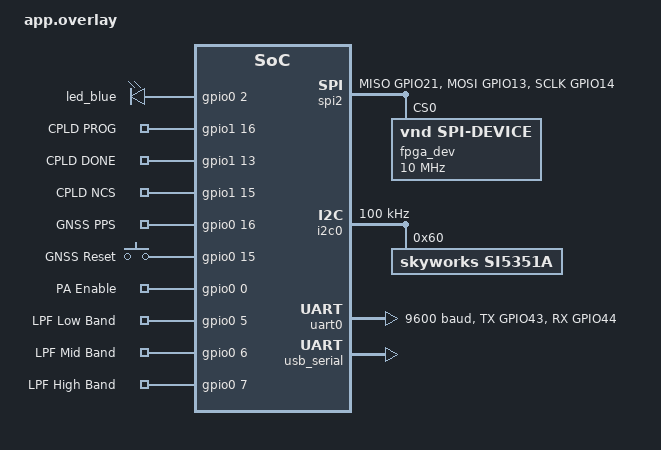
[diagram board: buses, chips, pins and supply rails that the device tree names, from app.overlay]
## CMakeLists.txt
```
# SPDX-License-Identifier: Apache-2.0
# WSPR-ease Zephyr Application

cmake_minimum_required(VERSION 3.20.0)

find_package(Zephyr REQUIRED HINTS $ENV{ZEPHYR_BASE})
project(wspr-ease)

# Include directories
target_include_directories(app PRIVATE
  ${CMAKE_CURRENT_SOURCE_DIR}/src

  # For regs.hpp
  ${CMAKE_CURRENT_SOURCE_DIR}/../FPGA/gen-hw
)

# Calculate paths dynamically to remain generalized
set(toolsDirPath "${CMAKE_CURRENT_SOURCE_DIR}/../tools")
set(flashScriptPath "${toolsDirPath}/remote-flash.sh")
set(binFilePath "${CMAKE_BINARY_DIR}/zephyr/zephyr.bin")

# Define the custom target that depends on the final zephyr binary
add_custom_target(remoteFlash
  COMMAND bash ${flashScriptPath} ${binFilePath}
  DEPENDS zephyr_final
)

# Source files
target_sources(app PRIVATE
  src/main.cpp
  src/wifiManager.cpp
  src/webserver.cpp
  src/captiveDNS.cpp
  src/gnss.cpp
  src/fpga.cpp
  src/shellcmds.cpp
  src/filesystem.cpp
  src/logmanager.cpp
)
```

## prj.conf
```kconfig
# WSPR-ease Zephyr Configuration
# Target: ESP32-S3

# Basic kernel settings
CONFIG_MAIN_STACK_SIZE=16384
CONFIG_HEAP_MEM_POOL_SIZE=131072

# C++ support
CONFIG_CPP=y
CONFIG_STD_CPP17=y
CONFIG_GLIBCXX_LIBCPP=y

# Logging
CONFIG_LOG=y
CONFIG_LOG_DEFAULT_LEVEL=3

# Console/Shell (USB serial)
CONFIG_CONSOLE=y
CONFIG_UART_CONSOLE=y
CONFIG_SHELL=y
CONFIG_REBOOT=y
CONFIG_SHELL_PROMPT_UART="WSPR-ease> "

# GPIO for status LEDs and FPGA control
CONFIG_GPIO=y

# SPI for FPGA communication
CONFIG_SPI=y
CONFIG_SPI_SHELL=y
CONFIG_SPI_SHELL_MAX_DEVICE_SLOTS=16

# I2C for Si5351 communication
CONFIG_I2C=y

# Wi-Fi
CONFIG_WIFI=y
CONFIG_WIFI_ESP32=y
CONFIG_NET_L2_WIFI_SHELL=y
CONFIG_NET_STATISTICS=y
CONFIG_NET_STATISTICS_PER_INTERFACE=y
CONFIG_NET_STATISTICS_USER_API=y
CONFIG_NET_STATISTICS_IPV4=y
CONFIG_NET_STATISTICS_IPV6=y
CONFIG_NET_STATISTICS_IPV6_ND=y
CONFIG_NET_STATISTICS_ICMP=y
CONFIG_NET_STATISTICS_UDP=y
CONFIG_NET_STATISTICS_TCP=y
CONFIG_NET_STATISTICS_MLD=y
CONFIG_NET_STATISTICS_IGMP=y
CONFIG_NET_STATISTICS_DNS=y
CONFIG_NET_STATISTICS_ETHERNET=y
CONFIG_NET_STATISTICS_WIFI=y

# Networking
CONFIG_NETWORKING=y
CONFIG_NET_IPV4=y
CONFIG_NET_TCP=y
CONFIG_NET_UDP=y
CONFIG_NET_SOCKETS=y
CONFIG_NET_CONNECTION_MANAGER=y

# Network shell for debugging
CONFIG_NET_SHELL=y

# DHCP client (for STA mode)
CONFIG_NET_DHCPV4=y

# DHCP server (for AP mode)
CONFIG_NET_DHCPV4_SERVER=y

# DNS client
CONFIG_DNS_RESOLVER=y

# Network buffers
CONFIG_NET_PKT_RX_COUNT=24
CONFIG_NET_PKT_TX_COUNT=24
CONFIG_NET_BUF_RX_COUNT=48
CONFIG_NET_BUF_TX_COUNT=48
CONFIG_NET_MAX_CONTEXTS=12
CONFIG_NET_MAX_CONN=16

# NVS for storing WiFi credentials
CONFIG_NVS=y
CONFIG_FLASH=y
CONFIG_FLASH_MAP=y

# LittleFS for web UI files
CONFIG_FILE_SYSTEM=y
CONFIG_FILE_SYSTEM_LITTLEFS=y

# Settings subsystem for persistent config
CONFIG_SETTINGS=y
CONFIG_SETTINGS_NVS=y

# Increase stack sizes for network threads
CONFIG_NET_TX_STACK_SIZE=2048
CONFIG_NET_RX_STACK_SIZE=2048

# Floating point support for GNSS coordinates
CONFIG_FPU=y
CONFIG_CBPRINTF_FP_SUPPORT=y

# Serial/UART
CONFIG_SERIAL=y
CONFIG_UART_INTERRUPT_DRIVEN=y

# WiFi AP mode support - static IP configured in code for AP mode only
# Don't use NET_CONFIG_SETTINGS as it interferes with DHCP client mode

# WSPR-ease WiFi Configuration
# Set these to connect to your WiFi network as a client
# Leave WSPR_WIFI_SSID empty to start in AP mode
CONFIG_WSPR_WIFI_SSID="Starview"
CONFIG_WSPR_WIFI_PASSWORD="8784.brd3.14"

# AP mode settings (used when client mode fails or is not configured)
CONFIG_WSPR_AP_SSID="WSPR-ease"
CONFIG_WSPR_AP_PASSWORD="wspradmin"
```

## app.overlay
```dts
/* file: app.overlay */

/*
 * Add LittleFS partition for web UI files
 *
 * The ESP32-S3 board DTS defines default partitions:
 *   boot_partition @0x0 (64KB)
 *   slot0_partition @0x10000 (1472KB) - main app
 *   slot1_partition @0x180000 (1472KB) - OTA slot
 *   scratch_partition @0x2F0000 (64KB)
 *   storage_partition @0x300000 (64KB) - NVS
 *
 * We add LittleFS starting at 0x310000 (after storage).
 * This fits comfortably in the 8MB flash.
 */

&flash0 {
	partitions {
		compatible = "fixed-partitions";
		#address-cells = <1>;
		#size-cells = <1>;

		/* Delete all default partitions from the board dts to avoid confusion/overlap */
		/delete-node/ partition@0;
		/delete-node/ partition@10000;
		/delete-node/ partition@20000;
		/delete-node/ partition@170000;
		/delete-node/ partition@2c0000;
		/delete-node/ partition@2d0000;
		/delete-node/ partition@3b0000;
		/delete-node/ partition@3e0000;
		/delete-node/ partition@3f0000;

		/* Bootloader (64KB) */
		boot_partition: partition@0 {
			label = "mcuboot";
			reg = <0x00000000 DT_SIZE_K(64)>;
		};

		/* Application slot 0 (3MB) */
		slot0_partition: partition@10000 {
			label = "image-0";
			reg = <0x00010000 DT_SIZE_M(3)>;
		};

		/* LittleFS for web UI files (1MB) */
		lfs_partition: partition@310000 {
			label = "littlefs";
			reg = <0x00310000 DT_SIZE_M(1)>;
		};

		/* Storage/NVS (256KB) */
		storage_partition: partition@410000 {
			label = "storage";
			reg = <0x00410000 DT_SIZE_K(256)>;
		};
	};
};

/ {
	aliases {
		/* Aliases for C code access (must be lowercase with hyphens) */
		fpga-spi = &spi2;
		gnss-uart = &uart0;
		led0 = &led_blue;
	};

	chosen {
		zephyr,console = &usb_serial;
		zephyr,shell-uart = &usb_serial;
	};

	/* Virtual "LED" for board heartbeat if needed */
	leds {
		compatible = "gpio-leds";
		led_blue: led_0 {
			gpios = <&gpio0 2 GPIO_ACTIVE_HIGH>; /* Onboard LED if available, optional */
		};
	};

	/* * Custom Node: Transceiver IO
	 * Groups all discrete control signals.
	 */
	transceiver_io: transceiver-io {
		compatible = "gpio-keys"; 
		
		/* CPLD Control */
		cpld_prog: cpld-prog {
			gpios = <&gpio1 16 GPIO_ACTIVE_HIGH>; /* GPIO 48 */
			label = "CPLD PROG";
		};
		cpld_done: cpld-done {
			gpios = <&gpio1 13 GPIO_ACTIVE_HIGH>; /* GPIO 45 */
			label = "CPLD DONE";
		};
		cpld_ncs: cpld-ncs {
			gpios = <&gpio1 15 GPIO_ACTIVE_HIGH>; /* GPIO 47 */
			label = "CPLD NCS";
		};

		/* GNSS Timing and Control */
		pps_in: pps-in {
			gpios = <&gpio0 16 GPIO_ACTIVE_HIGH>; /* GPIO 16 */
			label = "GNSS PPS";
		};
		gnss_reset: gnss-reset {
			gpios = <&gpio0 15 GPIO_ACTIVE_HIGH>; /* GPIO 15 */
			label = "GNSS Reset";
		};

		/* Power / PA Enable */
		pa_en: pa-en {
			gpios = <&gpio0 0 GPIO_ACTIVE_HIGH>; /* GPIO 0 */
			label = "PA Enable";
		};

		/* Low Pass Filter Switching */
		lpf_lo: lpf-lo {
			gpios = <&gpio0 5 GPIO_ACTIVE_HIGH>; /* GPIO 5 */
			label = "LPF Low Band";
		};
		lpf_mid: lpf-mid {
			gpios = <&gpio0 6 GPIO_ACTIVE_HIGH>; /* GPIO 6 */
			label = "LPF Mid Band";
		};
		lpf_hi: lpf-hi {
			gpios = <&gpio0 7 GPIO_ACTIVE_HIGH>; /* GPIO 7 */
			label = "LPF High Band";
		};
	};
};

/* Pin Control Definitions */

&pinctrl {
	/* SPI2 (FSPI) for CPLD Control */
	spi2_default: spi2_default {
		group1 {
			pinmux = <SPIM2_MISO_GPIO21>,
			         <SPIM2_MOSI_GPIO13>,
			         <SPIM2_SCLK_GPIO14>;
		};
	};

	/* I2C0 for SI5351 control */
	i2c0_default: i2c0_default {
		group1 {
			pinmux = <I2C0_SCL_GPIO11>,
			         <I2C0_SDA_GPIO10>;
			bias-pull-up;
			drive-open-drain;
			output-high;
		};
	};

	/* UART0 for GNSS (Physically RXD0/TXD0) */
	uart0_default: uart0_default {
		group1 {
			pinmux = <UART0_TX_GPIO43>,
			         <UART0_RX_GPIO44>;
			bias-pull-up;
		};
	};
};

/* Peripheral Configuration */

&spi2 {
	status = "okay";
	pinctrl-0 = <&spi2_default>;
	pinctrl-names = "default";

	fpga_dev: fpga@0 {
		compatible = "vnd,spi-device";
		reg = <0>;
		spi-max-frequency = <10000000>; /* 10MHz for CPLD SPI */
	};
};

&i2c0 {
	status = "okay";
	clock-frequency = <I2C_BITRATE_STANDARD>;
	pinctrl-0 = <&i2c0_default>;
	pinctrl-names = "default";

	si5351a: si5351a@60 {
		compatible = "skyworks,si5351a";
		reg = <0x60>;
		status = "okay";
	};
};

&uart0 {
	status = "okay";
	current-speed = <9600>;
	pinctrl-0 = <&uart0_default>;
	pinctrl-names = "default";
};

&uart1 {
	status = "disabled";
};

&usb_serial {
	status = "okay";
};
```

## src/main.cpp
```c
/*
 * WSPR-ease Main Application
 *
 * Multi-band WSPR beacon controller for ESP32-S3 + iCE40 FPGA
 */

#include <zephyr/kernel.h>
#include <zephyr/logging/log.h>
#include <zephyr/net/net_if.h>
#include <zephyr/net/net_mgmt.h>

#include "wifiManager.hpp"
#include "webserver.hpp"
#include "captiveDNS.hpp"
#include "gnss.hpp"
#include "fpga.hpp"
#include "filesystem.hpp"
#include "logmanager.hpp"

LOG_MODULE_REGISTER(wspr_ease, LOG_LEVEL_INF);

namespace wspr {
// Register subsystem with LogManager
static Logger& logger = LogManager::instance().registerSubsystem("sys", 
    {"init", "wifi", "status", "tx"});
}

// WiFi retry configuration
#define WIFI_RETRY_DELAY_SECONDS  10
#define WIFI_MAX_RETRIES          0   // 0 = infinite retries

// Print a banner with connection info
static void printConnectionBanner(const char* ip)
{
    printk("\n");
    printk("==============================================\n");
    printk("  WSPR-ease Ready\n");
    printk("  Mode: WiFi Client\n");
    printk("  SSID: %s\n", CONFIG_WSPR_WIFI_SSID);
    printk("  Web UI: http://%s\n", ip);
    printk("==============================================\n");
    printk("\n");
}

// Try to connect to WiFi with retries
// Returns true if connected, false if no SSID configured
static bool wifiConnectWithRetry()
{
    auto& wifi = wspr::WifiManager::instance();
    using wspr::logger;

    const char* ssid = CONFIG_WSPR_WIFI_SSID;
    const char* pass = CONFIG_WSPR_WIFI_PASSWORD;

    if (ssid[0] == '\0') {
        logger.err("wifi", "No WiFi SSID configured! Set CONFIG_WSPR_WIFI_SSID in prj.conf");
        return false;
    }

    int retryCount = 0;

    while (WIFI_MAX_RETRIES == 0 || retryCount < WIFI_MAX_RETRIES) {
        if (retryCount > 0) {
            logger.inf("wifi", "WiFi retry %d, waiting %d seconds...",
                    retryCount, WIFI_RETRY_DELAY_SECONDS);
            k_sleep(K_SECONDS(WIFI_RETRY_DELAY_SECONDS));
        }

        logger.inf("wifi", "Connecting to WiFi: %s", ssid);

        if (wifi.connect(ssid, pass) == 0) {
            logger.inf("wifi", "WiFi connected, IP: %s", wifi.getIPAddress());
            return true;
        }

        logger.wrn("wifi", "WiFi connection failed");
        retryCount++;
    }

    return false;
}

static void initSubsystems(wspr::WebServer& webServer)
{
    auto& wifi = wspr::WifiManager::instance();
    auto& gnss = wspr::GNSS::instance();
    auto& fpga = wspr::FPGA::instance();
    auto& fs = wspr::FileSystem::instance();
    using wspr::logger;

    // Mount LittleFS early - doesn't need network
    fs.mount();

    // Initialize GNSS (stub mode)
    if (gnss.init() != 0) {
        logger.err("init", "GNSS init failed");
    }

    // Initialize FPGA (stub mode)
    if (fpga.init() != 0) {
        logger.err("init", "FPGA init failed");
    }

    // Initialize WiFi
    if (wifi.init() != 0) {
        logger.err("init", "WiFi init failed");
        return;
    }

    // Connect to WiFi (with retries)
    wifiConnectWithRetry();

    // Initialize and start web server
    if (webServer.init() == 0) {
        webServer.start(80);
        // Print connection banner after everything is ready
        if (wifi.isConnected()) {
            printConnectionBanner(wifi.getIPAddress());
        }
    } else {
        logger.err("init", "Web server init failed");
    }
}

int main(void)
{
    using wspr::logger;
    logger.inf("init", "WSPR-ease starting...");
    logger.inf("init", "Build: %s %s", __DATE__, __TIME__);

    // Ensure logging is initialized early
    (void)wspr::LogManager::instance();

    // Create WebServer on main's stack (persists for lifetime of program)
    wspr::WebServer webServer;

    // Wait for network interface to be ready
    k_sleep(K_SECONDS(2));

    initSubsystems(webServer);

    logger.inf("init", "Entering main loop");

    auto& wifi = wspr::WifiManager::instance();
    auto& gnss = wspr::GNSS::instance();
    auto& fpga = wspr::FPGA::instance();

    uint32_t loopCount = 0;
    bool wasConnected = wifi.isConnected();

    while (1) {
        // Check for scheduled WSPR transmission
        // (In real implementation, this would check schedule and start TX)
        if (gnss.isTXSlot() && !fpga.isTransmitting()) {
            logger.inf("tx", "TX slot detected (not transmitting in stub mode)");
        }

        // Monitor WiFi connection and reconnect if needed
        bool isConnected = wifi.isConnected();
        if (wasConnected && !isConnected) {
            logger.wrn("wifi", "WiFi disconnected! Attempting to reconnect...");
            if (wifiConnectWithRetry()) {
                printConnectionBanner(wifi.getIPAddress());
            }
        }
        wasConnected = wifi.isConnected();



        // Periodic status log
        if ((loopCount % 60) == 0) {  // Every 60 seconds
            logger.inf("status", "Status: WiFi=%s IP=%s RSSI=%d GNSS=%s Freq=%u",
                    wifi.isConnected() ? "connected" : "disconnected",
                    wifi.getIPAddress(),
                    wifi.getRSSI(),
                    gnss.hasFix() ? "fix" : "no fix",
                    fpga.frequency());
        }

        loopCount++;
        k_sleep(K_SECONDS(1));
    }

    return 0;
}
```

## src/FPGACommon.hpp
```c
#pragma once
#include <cstdint>

namespace wspr {

  // NCO system clock rate (90 MHz)
  constexpr uint64_t ncoHz = 90ULL * 1000ULL * 1000ULL;

  // WSPR tone spacing in Hz
  constexpr double wsprToneSpacingHz = 1.46484375;

  // Threshold frequency (10 MHz) to switch between 1-2-1 and Square Wave mode
  constexpr uint32_t modeSquareThresholdHz = 10000000;

  /**
   * @brief Calculates the NCO tuning word for a 48-bit accumulator.
   * 
   * @param freqHz Target frequency in Hz.
   * @param ncoHzVal NCO clock frequency in Hz.
   * @return uint64_t The 48-bit NCO tuning word.
   */
  inline uint64_t calculateNCOTuningWord(uint64_t freqHz, uint64_t ncoHzVal = ncoHz) {
    // Define constants for the 48-bit accumulator
    const uint64_t ncoShift = 48ULL;
    const uint64_t ncoScale = 1ULL << ncoShift;

    // Decompose ncoScale / ncoHzVal into quotient and remainder
    // ncoScale = (q * ncoHzVal) + r
    const uint64_t q = ncoScale / ncoHzVal;
    const uint64_t r = ncoScale % ncoHzVal;

    // result = (freqHz * q) + ((freqHz * r) / ncoHzVal)
    // Both intermediate products (freqHz * q) and (freqHz * r) 
    // fit within 64 bits for standard HF frequencies.
    uint64_t term1 = freqHz * q;
    uint64_t term2 = (freqHz * r) / ncoHzVal;

    uint64_t tuningWord = term1 + term2;

    return tuningWord;
  }

} // namespace wspr
```

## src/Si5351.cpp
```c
#include "Si5351.hpp"
#include <zephyr/sys/util.h>
#include <zephyr/logging/log.h>
#include <string.h>

LOG_MODULE_REGISTER(si5351, LOG_LEVEL_INF);

Si5351::Si5351() {
  tcxoFreqHz = 0;
  pllaFreqHz = 0;
  pllbFreqHz = 800000000; // 800 MHz fixed PLL B
  rfBaseFreqHz = 0;
  rfOffsetMilliHz = 0;

  for (int i = 0; i < 8; ++i) {
    msInteger[i] = 0;
    msNumerator[i] = 0;
    msDenominator[i] = max20BitValue;
  }
}

Si5351::~Si5351() {}

bool Si5351::init(const struct i2c_dt_spec *spec, uint32_t tcxoFreq) {
  i2cSpec = spec;
  if (!i2cSpec || !i2c_is_ready_dt(i2cSpec)) {
    LOG_ERR("I2C bus device not ready");
    return false;
  }

  tcxoFreqHz = tcxoFreq;

  // 1. Disable all clock outputs during initialization (Reg 3 = 0xFF)
  writeRegister(regOutputControl, 0xFF);

  // 2. Power down and disable unused clocks
  for (uint8_t i = 0; i < 8; ++i) {
    writeRegister(regCLKControlBase + i, 0x80);
  }

  // 3. Disable OEB hardware pins
  writeRegister(9, 0xFF);

  // 4. Set crystal load capacitance to 0 pF for external TCXO
  writeRegister(regCrystalLoad, 0x12);

  // 5. Disable spread spectrum
  writeRegister(149, 0x00);

  // 6. Setup PLL B to a fixed 800 MHz (using 20MHz TCXO reference)
  // Multiplier = 40 (pure integer for lowest noise)
  setupPLLB(pllbFreqHz, tcxoFreqHz);

  // 7. Setup CLK2 to output exactly 40 MHz from PLL B (pure integer division: 800 / 40 = 20)
  msInteger[2] = 20;
  msNumerator[2] = 0;
  msDenominator[2] = max20BitValue;
  updateMultiSynthDividers(2);
  
  // CLK2 control: source PLL B (0x20), powered up, 8mA drive strength (0x03) -> 0x23
  writeRegister(regCLKControlBase + 2, 0x23);

  // 8. Reset PLLs to align phase
  writeRegister(regPLLReset, 0xA0);

  initialized = true;
  LOG_INF("Si5351 init success. TCXO=%u Hz. PLL B=800MHz, CLK2=40MHz (PWM clock).", tcxoFreqHz);
  return true;
}

bool Si5351::setCarrierFreq(uint32_t rfFreqHz) {
  if (!initialized) return false;
  rfBaseFreqHz = rfFreqHz;

  // CLK0 needs to output 6x the RF carrier frequency for 1-2-1 sequence
  uint32_t clk0FreqHz = rfFreqHz * 6;

  // Select a MultiSynth divider N for CLK0 (even integer, multiple of 6) to keep PLLA VCO in 600-900MHz range
  uint32_t bestN = 10;
  uint32_t targetVCO = 800000000;
  uint32_t minDiff = 0xFFFFFFFF;

  for (uint32_t candidate = 6; candidate <= 150; candidate += 2) {
    uint64_t vco = static_cast<uint64_t>(candidate) * clk0FreqHz;
    if (vco >= 600000000ULL && vco <= 900000000ULL) {
      uint32_t diff = (vco > targetVCO) ? static_cast<uint32_t>(vco - targetVCO)
                                        : static_cast<uint32_t>(targetVCO - vco);
      if (diff < minDiff) {
        minDiff = diff;
        bestN = candidate;
      }
    }
  }

  pllaFreqHz = bestN * clk0FreqHz;

  // Setup PLL A to lock to the calculated VCO frequency (fractional setup for exact freq)
  setupPLLA(pllaFreqHz, tcxoFreqHz);

  // Setup MultiSynth 0 (CLK0) to divide by bestN (pure integer, b=0) to eliminate phase noise
  msInteger[0] = bestN;
  msNumerator[0] = 0;
  msDenominator[0] = max20BitValue;
  updateMultiSynthDividers(0);

  // CLK0 control: source PLL A (0x00), powered up, 8mA drive strength (0x03) -> 0x03
  writeRegister(regCLKControlBase + 0, 0x03);

  // Reset PLL A to lock alignment
  writeRegister(regPLLReset, 0x20);

  LOG_INF("CLK0 set to 6x carrier: %u Hz (RF=%u Hz). PLLA=%u Hz, Divider=%u.", 
          clk0FreqHz, rfFreqHz, pllaFreqHz, bestN);
  return true;
}

void Si5351::tuneCarrierOffset(int32_t milliHzOffset) {
  if (!initialized || rfBaseFreqHz == 0) return;
  rfOffsetMilliHz = milliHzOffset;

  // Shift CLK0 by 6x the RF offset
  int32_t clk0OffsetMilliHz = milliHzOffset * 6;

  // Modulate PLLA frequency atomically over I2C without reset!
  int64_t pllOffsetMilliHz = static_cast<int64_t>(msInteger[0]) * clk0OffsetMilliHz;
  int64_t targetPLLMilliHz = static_cast<int64_t>(pllaFreqHz) * 1000LL + pllOffsetMilliHz;

  if (targetPLLMilliHz <= 0 || tcxoFreqHz == 0) return;

  uint64_t refMilliHz = static_cast<uint64_t>(tcxoFreqHz) * 1000ULL;
  uint32_t a_pll = static_cast<uint32_t>(targetPLLMilliHz / refMilliHz);
  uint64_t rem = static_cast<uint64_t>(targetPLLMilliHz % refMilliHz);
  uint32_t b_pll = static_cast<uint32_t>((rem * max20BitValue) / refMilliHz);
  uint32_t c_pll = max20BitValue;

  writeSynthParams(regPLLABase, a_pll, b_pll, c_pll);
}

void Si5351::setClockOutputsEnabled(bool enabled) {
  // CLK0 and CLK2 enabled (bits 0 and 2 cleared in Reg 3) -> 0xFA, otherwise 0xFF
  writeRegister(regOutputControl, enabled ? 0xFA : 0xFF);
}

void Si5351::writeRegister(uint8_t reg, uint8_t data) {
  if (i2cSpec && i2c_is_ready_dt(i2cSpec)) {
    i2c_reg_write_byte_dt(i2cSpec, reg, data);
  }
}

uint8_t Si5351::readRegister(uint8_t reg) {
  uint8_t data = 0;
  if (i2cSpec && i2c_is_ready_dt(i2cSpec)) {
    i2c_write_read_dt(i2cSpec, &reg, 1, &data, 1);
  }
  return data;
}

void Si5351::setupPLLA(uint32_t targetPLLFreqHz, uint32_t refFreqHz) {
  if (refFreqHz == 0) return;
  uint32_t a = targetPLLFreqHz / refFreqHz;
  uint64_t rem = targetPLLFreqHz % refFreqHz;
  uint32_t b = static_cast<uint32_t>((rem * max20BitValue) / refFreqHz);
  uint32_t c = max20BitValue;

  writeSynthParams(regPLLABase, a, b, c);
}

void Si5351::setupPLLB(uint32_t targetPLLFreqHz, uint32_t refFreqHz) {
  if (refFreqHz == 0) return;
  uint32_t a = targetPLLFreqHz / refFreqHz;
  uint64_t rem = targetPLLFreqHz % refFreqHz;
  uint32_t b = static_cast<uint32_t>((rem * max20BitValue) / refFreqHz);
  uint32_t c = max20BitValue;

  writeSynthParams(regPLLBBase, a, b, c);
}

void Si5351::updateMultiSynthDividers(uint8_t clk) {
  if (clk > 7) return;
  uint8_t baseReg = regMultiSynthBase + (clk * 8);
  writeSynthParams(baseReg, msInteger[clk], msNumerator[clk], msDenominator[clk]);
}

void Si5351::writeSynthParams(uint8_t baseReg, uint32_t multOrDiv, uint32_t num, uint32_t denom, bool divBy4) {
  if (denom == 0) denom = 1;

  uint32_t p1 = 128 * multOrDiv + static_cast<uint32_t>((128ULL * num) / denom) - 512;
  uint32_t p2 = static_cast<uint32_t>(128ULL * num - denom * ((128ULL * num) / denom));
  uint32_t p3 = denom;

  uint8_t p1_17_16 = static_cast<uint8_t>((p1 >> 16) & 0x03);
  uint8_t div4Bits = divBy4 ? 0x0C : 0x00;

  uint8_t params[8];
  params[0] = static_cast<uint8_t>((p3 >> 8) & 0xFF);
  params[1] = static_cast<uint8_t>(p3 & 0xFF);
  params[2] = div4Bits | p1_17_16;
  params[3] = static_cast<uint8_t>((p1 >> 8) & 0xFF);
  params[4] = static_cast<uint8_t>(p1 & 0xFF);
  params[5] = static_cast<uint8_t>(((p3 >> 16) & 0x0F) << 4 | ((p2 >> 16) & 0x0F));
  params[6] = static_cast<uint8_t>((p2 >> 8) & 0xFF);
  params[7] = static_cast<uint8_t>(p2 & 0xFF);

  if (i2cSpec && i2c_is_ready_dt(i2cSpec)) {
    i2c_burst_write_dt(i2cSpec, baseReg, params, 8);
  }
}
```

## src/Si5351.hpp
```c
#pragma once
#include <cstdint>
#include <cstddef>
#include <zephyr/drivers/i2c.h>

class Si5351 {
public:
  Si5351();
  ~Si5351();

  // Initializes the reference TCXO frequency, sets up PLL A (modulated) and PLL B (fixed 800MHz),
  // and configures CLK0 (6x carrier clock from PLL A) and CLK2 (fixed 40MHz PWM rate clock from PLL B).
  bool init(const struct i2c_dt_spec *spec, uint32_t tcxoFreqHz);

  // Sets the carrier base frequency. CLK0 will output exactly 6x this frequency.
  bool setCarrierFreq(uint32_t rfFreqHz);

  // Dynamically tunes CLK0 frequency offset via fractional PLLA modulation
  void tuneCarrierOffset(int32_t milliHzOffset);

  // Enable/disable the clock outputs (CLK0 and CLK2)
  void setClockOutputsEnabled(bool enabled);

  // Raw registers
  void writeRegister(uint8_t reg, uint8_t data);
  uint8_t readRegister(uint8_t reg);

private:
  void updateMultiSynthDividers(uint8_t clk);
  void setupPLLA(uint32_t targetPLLFreqHz, uint32_t refFreqHz);
  void setupPLLB(uint32_t targetPLLFreqHz, uint32_t refFreqHz);
  void writeSynthParams(uint8_t baseReg, uint32_t multOrDiv, uint32_t num, uint32_t denom, bool divBy4 = false);

  static constexpr uint8_t regOutputControl = 3;
  static constexpr uint8_t regCLKControlBase = 16;
  static constexpr uint8_t regPLLABase = 26;
  static constexpr uint8_t regPLLBBase = 34;
  static constexpr uint8_t regMultiSynthBase = 42;
  static constexpr uint8_t regPhaseOffsetBase = 165;
  static constexpr uint8_t regPLLReset = 177;
  static constexpr uint8_t regCrystalLoad = 183;
  static constexpr uint32_t max20BitValue = 1048575;

  const struct i2c_dt_spec *i2cSpec = nullptr;
  bool initialized = false;

  uint32_t tcxoFreqHz = 0;
  uint32_t pllaFreqHz = 0;
  uint32_t pllbFreqHz = 800000000; // Fixed 800 MHz PLL B for PWM clock

  uint32_t rfBaseFreqHz = 0;
  int32_t rfOffsetMilliHz = 0;

  uint32_t msInteger[8] = {0};
  uint32_t msNumerator[8] = {0};
  uint32_t msDenominator[8] = {0};
};
```

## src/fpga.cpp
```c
/*
 * CPLD Control Module Implementation for WSPR-ease
 * Handles Lattice MachXO2 CPLD initialization, Si5351 clocks setup, LPF band selection, and SPI registers.
 */

#include "fpga.hpp"
#include "FPGACommon.hpp"
#include "buildNumber.hpp"
#include "regs.hpp"

#include "filesystem.hpp"
#include "logmanager.hpp"

#include <zephyr/kernel.h>
#include <zephyr/logging/log.h>
#include <zephyr/drivers/gpio.h>
#include <zephyr/drivers/spi.h>
#include <zephyr/fs/fs.h>

#include <cstring>
#include <errno.h>
#include <stdlib.h>

LOG_MODULE_REGISTER(fpga, LOG_LEVEL_INF);

namespace wspr {

  // Register subsystem with LogManager
  static Logger& logger = LogManager::instance().registerSubsystem("cpld",
								   {"spi", "config", "si5351"});

  // GPIO specs from devicetree
  static const struct gpio_dt_spec cpldPROG = GPIO_DT_SPEC_GET(DT_NODELABEL(cpld_prog), gpios);
  static const struct gpio_dt_spec cpldDONE = GPIO_DT_SPEC_GET(DT_NODELABEL(cpld_done), gpios);
  static const struct gpio_dt_spec cpldNCS = GPIO_DT_SPEC_GET(DT_NODELABEL(cpld_ncs), gpios);

  static const struct gpio_dt_spec paEN = GPIO_DT_SPEC_GET(DT_NODELABEL(pa_en), gpios);

  static const struct gpio_dt_spec lpfLO = GPIO_DT_SPEC_GET(DT_NODELABEL(lpf_lo), gpios);
  static const struct gpio_dt_spec lpfMID = GPIO_DT_SPEC_GET(DT_NODELABEL(lpf_mid), gpios);
  static const struct gpio_dt_spec lpfHI = GPIO_DT_SPEC_GET(DT_NODELABEL(lpf_hi), gpios);

  // SPI Master: CPOL=0, CPHA=0 (Mode 0), MSB First.
  static const struct spi_dt_spec cpldSPI = SPI_DT_SPEC_GET(DT_NODELABEL(fpga_dev),
							    SPI_OP_MODE_MASTER | SPI_WORD_SET(8) | SPI_TRANSFER_MSB);

  FPGA& FPGA::instance() {
    static FPGA inst;
    return inst;
  }

  int FPGA::init() {
    logger.inf("Initializing CPLD and Si5351 system");

    if (!device_is_ready(cpldPROG.port) ||
	!device_is_ready(cpldDONE.port) ||
        !device_is_ready(cpldNCS.port) ||
	!device_is_ready(paEN.port) ||
        !device_is_ready(lpfLO.port) ||
        !device_is_ready(lpfMID.port) ||
        !device_is_ready(lpfHI.port))
    {
      logger.err("CPLD/PA/LPF GPIO devices not ready");
      return -ENODEV;
    }

    if (!spi_is_ready_dt(&cpldSPI)) {
      logger.err("CPLD SPI device not ready");
      return -ENODEV;
    }

    // Configure GPIO directions and default values
    gpio_pin_configure_dt(&cpldPROG, GPIO_OUTPUT_HIGH);
    gpio_pin_configure_dt(&cpldNCS, GPIO_OUTPUT_HIGH);
    gpio_pin_configure_dt(&cpldDONE, GPIO_INPUT | GPIO_PULL_UP);

    gpio_pin_configure_dt(&paEN, GPIO_OUTPUT_LOW);
    gpio_pin_configure_dt(&lpfLO, GPIO_OUTPUT_LOW);
    gpio_pin_configure_dt(&lpfMID, GPIO_OUTPUT_LOW);
    gpio_pin_configure_dt(&lpfHI, GPIO_OUTPUT_LOW);

    // 1. Initialize Si5351 first so that CPLD gets clock inputs before starting/exiting reset
    static const struct i2c_dt_spec si5351_i2c = I2C_DT_SPEC_GET(DT_NODELABEL(si5351a));
    if (!si5351.init(&si5351_i2c, tcxoFreqHz)) {
      logger.err("Failed to initialize Si5351 driver");
      return -EIO;
    }

    // Configure default carrier frequency (CLK0 at 6x 14.0956 MHz, CLK2 at 40 MHz)
    currentFreq = static_cast<uint32_t>(WSPRBand::Band20m);
    si5351.setCarrierFreq(currentFreq);
    si5351.setClockOutputsEnabled(true);
    k_msleep(20); // Let clocks stabilize

    // 2. Perform a physical reconfig/refresh on the MachXO2 CPLD
    logger.inf("Toggling CPLD PROG to clear configuration and trigger flash load...");
    gpio_pin_set_dt(&cpldPROG, 0); // Assert refresh/program mode
    k_msleep(5);
    gpio_pin_set_dt(&cpldPROG, 1); // Release to let CPLD load from internal Flash
    k_msleep(20); // Wait for configuration sequence to complete

    if (gpio_pin_get_dt(&cpldDONE) == 0) {
      logger.wrn("CPLD DONE pin remains LOW after configuration boot. Checking register response anyway...");
    } else {
      logger.inf("CPLD DONE asserted HIGH");
    }

    // 3. Verify CPLD communication over SPI via Hardware Signature register
    uint32_t sig = 0;
    if (spiReadReg(aFPGASig, &sig) == 0) {
      if (sig == 0x52505357) {
        logger.inf("CPLD SPI signature verified: 0x%08X", sig);
      } else {
        logger.err("CPLD SPI signature mismatch! Expected 0x52505357, got 0x%08X", sig);
        return -EIO;
      }
    } else {
      logger.err("Failed to read CPLD SPI signature register!");
      return -EIO;
    }

    // Read and verify CPLD build number
    uint32_t buildNum = 0;
    if (spiReadReg(aFPGABuildNo, &buildNum) == 0) {
      logger.inf("CPLD Build Number: %u (expected: %u)", buildNum, fpgaBuildNumber);
    } else {
      logger.err("Failed to read CPLD build number register!");
    }

    // Set default low pass filter band
    setLPFBand(WSPRBand::Band20m);

    initialized = true;
    logger.inf("CPLD and RF clocks fully initialized");
    return 0;
  }

  int FPGA::reset() {
    if (!initialized) return -ENODEV;
    
    // Soft reset CPLD
    triggerSoftReset(true);
    k_msleep(2);
    triggerSoftReset(false);

    // Reset Si5351 PLLs
    si5351.writeRegister(177, 0xA0);
    return 0;
  }

  int FPGA::loadBitstream(const char* path) {
    // MachXO2 is flash-based; SRAM dynamic programming is bypassed in typical runs.
    logger.inf("SRAM bitstream programming not required for MachXO2. Configuration booted from Flash.");
    return 0;
  }

  int FPGA::setFrequency(uint32_t freqHz) {
    if (!initialized) return -ENODEV;
    currentFreq = freqHz;

    logger.inf("config", "Updating carrier frequency to %u Hz (CLK0 output is %u Hz)", freqHz, freqHz * 6);

    // Set Si5351 CLK0 carrier frequency (6x RF base)
    if (!si5351.setCarrierFreq(freqHz)) {
      return -EIO;
    }

    // Write Mode configuration to CPLD Control register based on RF band
    FPGAControl ctrl;
    int ret = spiReadReg(aFPGAControl, &ctrl.u);
    if (ret == 0) {
      // 10 MHz or above uses standard Square wave; below 10 MHz uses 1-2-1 modulated wave
      ctrl.modeSquare = (freqHz >= 10000000) ? 1 : 0;
      ret = spiWriteReg(aFPGAControl, ctrl.u);
    }
    return ret;
  }

  int FPGA::startTX() {
    if (!initialized) return -ENODEV;
    if (transmitting) return -EALREADY;

    logger.inf("config", "Starting RF transmission at %u Hz", currentFreq);
    transmitting = true;

    // Enable power amplifier gate bias/drain power
    gpio_pin_set_dt(&paEN, 1);

    // Assert txEnable bit in CPLD
    FPGAControl ctrl;
    int ret = spiReadReg(aFPGAControl, &ctrl.u);
    if (ret == 0) {
      ctrl.txEnable = 1;
      ctrl.modeSquare = (currentFreq >= 10000000) ? 1 : 0;
      ret = spiWriteReg(aFPGAControl, ctrl.u);
    }
    return ret;
  }

  int FPGA::stopTX() {
    if (!initialized) return -ENODEV;
    if (!transmitting) return 0;

    logger.inf("config", "Stopping RF transmission");
    transmitting = false;

    // Deassert power amplifier enable
    gpio_pin_set_dt(&paEN, 0);

    // Clear txEnable bit in CPLD
    FPGAControl ctrl;
    int ret = spiReadReg(aFPGAControl, &ctrl.u);
    if (ret == 0) {
      ctrl.txEnable = 0;
      ret = spiWriteReg(aFPGAControl, ctrl.u);
    }
    return ret;
  }

  int FPGA::sendSymbol(uint8_t symbol) {
    if (!initialized) return -ENODEV;

    // tone spacing is 1.46484375 Hz
    double toneFreq = (double)currentFreq + (double)symbol * 1.46484375;
    
    // Calculate difference relative to baseline freq in milliHertz
    int32_t milliHzOffset = static_cast<int32_t>((toneFreq - static_cast<double>(currentFreq)) * 1000.0);
    
    // Continuously modulate PLLA multiplier glitchlessly
    si5351.tuneCarrierOffset(milliHzOffset);
    return 0;
  }

  int FPGA::setLPFBand(WSPRBand band) {
    uint32_t freq = static_cast<uint32_t>(band);
    logger.inf("config", "LPF band switched for frequency: %u Hz", freq);

    // Disable all LPF paths first to avoid cross-conduction/spikes
    gpio_pin_set_dt(&lpfLO, 0);
    gpio_pin_set_dt(&lpfMID, 0);
    gpio_pin_set_dt(&lpfHI, 0);

    // Select filter segment
    if (freq <= 4000000) {
      gpio_pin_set_dt(&lpfLO, 1);     // Low filter (<= 4MHz)
    } else if (freq <= 11500000) {
      gpio_pin_set_dt(&lpfMID, 1);    // Mid filter (4 - 11.5MHz)
    } else {
      gpio_pin_set_dt(&lpfHI, 1);     // High filter (11.5 - 32MHz)
    }

    currentBand = band;
    return 0;
  }

  int FPGA::updatePolarMod(uint16_t amplitude, uint16_t phase) {
    if (!initialized) return -ENODEV;

    FPGAPolarMod reg;
    reg.amp = amplitude;
    reg.phase = phase;
    return spiWriteReg(aFPGAPolarMod, reg.u);
  }

  int FPGA::triggerSoftReset(bool assertReset) {
    FPGAControl ctrl;
    int ret = spiReadReg(aFPGAControl, &ctrl.u);
    if (ret == 0) {
      ctrl.softReset = assertReset ? 1 : 0;
      ret = spiWriteReg(aFPGAControl, ctrl.u);
    }
    return ret;
  }

  int FPGA::spiWriteReg(uint8_t reg, uint32_t value) {
    uint8_t txBuf[5];
    txBuf[0] = 0x80 | (reg & 0x7F);
    txBuf[1] = (value >> 24) & 0xFF;
    txBuf[2] = (value >> 16) & 0xFF;
    txBuf[3] = (value >> 8) & 0xFF;
    txBuf[4] = value & 0xFF;

    gpio_pin_set_dt(&cpldNCS, 0);
    struct spi_buf sBuf = { .buf = txBuf, .len = sizeof(txBuf) };
    struct spi_buf_set sBufs = { .buffers = &sBuf, .count = 1 };
    int ret = spi_write_dt(&cpldSPI, &sBufs);
    gpio_pin_set_dt(&cpldNCS, 1);
    return ret;
  }

  int FPGA::spiReadReg(uint8_t reg, uint32_t* value) {
    uint8_t txBuf[5] = { (uint8_t)(reg & 0x7F), 0, 0, 0, 0 };
    uint8_t rxBuf[5] = { 0 };

    gpio_pin_set_dt(&cpldNCS, 0);
    struct spi_buf sTX = { .buf = txBuf, .len = 5 };
    struct spi_buf_set sTXs = { .buffers = &sTX, .count = 1 };
    struct spi_buf sRX = { .buf = rxBuf, .len = 5 };
    struct spi_buf_set sRXs = { .buffers = &sRX, .count = 1 };
    int ret = spi_transceive_dt(&cpldSPI, &sTXs, &sRXs);
    gpio_pin_set_dt(&cpldNCS, 1);

    if (ret == 0) {
      *value = ((uint32_t)rxBuf[1] << 24) |
	((uint32_t)rxBuf[2] << 16) |
	((uint32_t)rxBuf[3] << 8) |
	(uint32_t)rxBuf[4];
    }
    return ret;
  }

} // namespace wspr
```

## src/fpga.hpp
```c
/*
 * CPLD/FPGA Control Module for WSPR-ease
 * Handles CPLD interaction, Si5351 clock initialization, and SPI register updates.
 */

#pragma once

#include <cstdint>
#include "Si5351.hpp"

namespace wspr {

  enum class WSPRBand : uint32_t {
    Band160m = 1836600,
    Band80m  = 3568600,
    Band60m  = 5287200,
    Band40m  = 7038600,
    Band30m  = 10138700,
    Band20m  = 14095600,
    Band17m  = 18104600,
    Band15m  = 21094600,
    Band12m  = 24924600,
    Band10m  = 28124600,
    Band6m   = 50293000,
  };

  class FPGA {
  public:
    static FPGA& instance();

    static const unsigned tcxoFreqHz = 20 * 1000 * 1000; // 20 MHz TCXO reference for Si5351

    int init();
    int reset();
    int loadBitstream(const char* path);

    // Frequency control (CLK0 outputs 6x this frequency)
    int setFrequency(uint32_t freq_hz);
    uint32_t frequency() const { return currentFreq; }

    // Transmission control
    int startTX();
    int stopTX();
    bool isTransmitting() const { return initialized && transmitting; }

    // Send WSPR symbol (0-3) - 4-FSK modulation
    int sendSymbol(uint8_t symbol);

    // LPF band switching (controlled by loON, midON, hiON GPIOs)
    int setLPFBand(WSPRBand band);
    WSPRBand getBand() const { return currentBand; }

    // Atomic Polar Modulation update for AM, SSB, and CW envelope
    int updatePolarMod(uint16_t amplitude, uint16_t phase);

    // Soft reset trigger for internal CPLD state machines
    int triggerSoftReset(bool assertReset);

    // Raw register access for diagnostics
    int readRegister(uint8_t reg, uint32_t* value) { return spiReadReg(reg, value); }
    int writeRegister(uint8_t reg, uint32_t value) { return spiWriteReg(reg, value); }

    bool isInitialized() const { return initialized; }

    // Reference to Si5351 instance
    Si5351& getSi5351() { return si5351; }

  private:
    FPGA() = default;

    int spiWriteReg(uint8_t reg, uint32_t value);
    int spiReadReg(uint8_t reg, uint32_t* value);

    bool initialized = false;
    bool transmitting = false;
    uint32_t currentFreq = 0;
    WSPRBand currentBand = WSPRBand::Band20m;

    Si5351 si5351;
  };

} // namespace wspr
```
